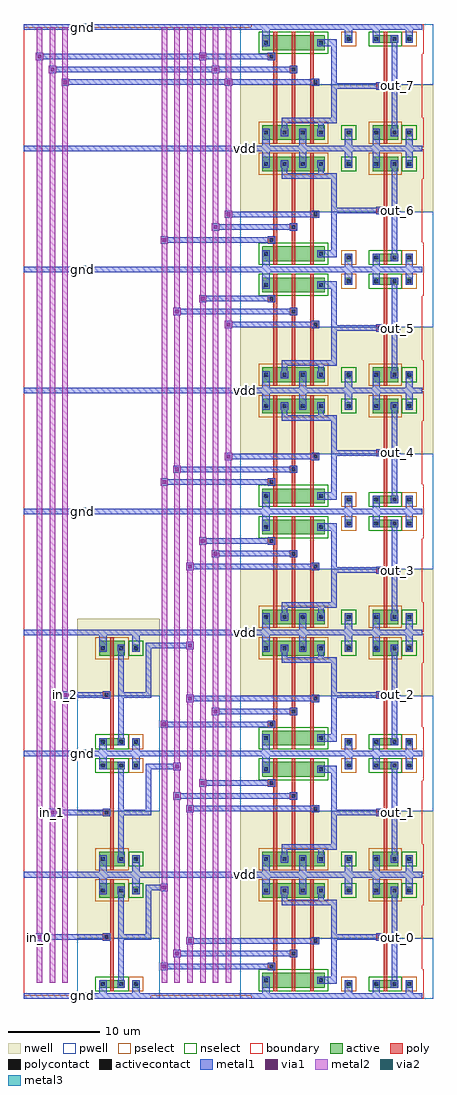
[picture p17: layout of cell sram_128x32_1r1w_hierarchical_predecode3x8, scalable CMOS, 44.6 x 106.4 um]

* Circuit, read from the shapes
.subckt sram_128x32_1r1w_hierarchical_predecode3x8 gnd in_0 in_1 in_2 out_0 out_1 out_2 out_3 out_4 out_5 out_6 out_7 vdd
M1 sram_128x32_1r1w_and3_dec_3/A in_0 gnd gnd nfet w=0.8u l=0.4u
M2 sram_128x32_1r1w_and3_dec_3/B in_1 gnd gnd nfet w=0.8u l=0.4u
M3 sram_128x32_1r1w_and3_dec_3/C in_2 gnd gnd nfet w=0.8u l=0.4u
M4 sram_128x32_1r1w_and3_dec_3/sram_128x32_1r1w_pnand3_0/sram_128x32_1r1w_nmos_m1_w1_600_sm1_dactive_3/D sram_128x32_1r1w_and3_dec_3/A gnd gnd nfet w=1.6u l=0.4u
M5 sram_128x32_1r1w_and3_dec_4/sram_128x32_1r1w_pnand3_0/sram_128x32_1r1w_nmos_m1_w1_600_sm1_dactive_3/D in_0 gnd gnd nfet w=1.6u l=0.4u
M6 sram_128x32_1r1w_and3_dec_5/sram_128x32_1r1w_pnand3_0/sram_128x32_1r1w_nmos_m1_w1_600_sm1_dactive_3/D sram_128x32_1r1w_and3_dec_3/A gnd gnd nfet w=1.6u l=0.4u
M7 sram_128x32_1r1w_and3_dec_6/sram_128x32_1r1w_pnand3_0/sram_128x32_1r1w_nmos_m1_w1_600_sm1_dactive_3/D in_0 gnd gnd nfet w=1.6u l=0.4u
M8 sram_128x32_1r1w_and3_dec_7/sram_128x32_1r1w_pnand3_0/sram_128x32_1r1w_nmos_m1_w1_600_sm1_dactive_3/D sram_128x32_1r1w_and3_dec_3/A gnd gnd nfet w=1.6u l=0.4u
M9 sram_128x32_1r1w_and3_dec_8/sram_128x32_1r1w_pnand3_0/sram_128x32_1r1w_nmos_m1_w1_600_sm1_dactive_3/D in_0 gnd gnd nfet w=1.6u l=0.4u
M10 sram_128x32_1r1w_and3_dec_9/sram_128x32_1r1w_pnand3_0/sram_128x32_1r1w_nmos_m1_w1_600_sm1_dactive_3/D sram_128x32_1r1w_and3_dec_3/A gnd gnd nfet w=1.6u l=0.4u
M11 sram_128x32_1r1w_and3_dec_10/sram_128x32_1r1w_pnand3_0/sram_128x32_1r1w_nmos_m1_w1_600_sm1_dactive_3/D in_0 gnd gnd nfet w=1.6u l=0.4u
M12 sram_128x32_1r1w_and3_dec_3/sram_128x32_1r1w_pnand3_0/sram_128x32_1r1w_nmos_m1_w1_600_sactive_dactive_4/D sram_128x32_1r1w_and3_dec_3/B sram_128x32_1r1w_and3_dec_3/sram_128x32_1r1w_pnand3_0/sram_128x32_1r1w_nmos_m1_w1_600_sm1_dactive_3/D gnd nfet w=1.6u l=0.4u
M13 sram_128x32_1r1w_and3_dec_4/sram_128x32_1r1w_pnand3_0/sram_128x32_1r1w_nmos_m1_w1_600_sactive_dactive_4/D sram_128x32_1r1w_and3_dec_3/B sram_128x32_1r1w_and3_dec_4/sram_128x32_1r1w_pnand3_0/sram_128x32_1r1w_nmos_m1_w1_600_sm1_dactive_3/D gnd nfet w=1.6u l=0.4u
M14 sram_128x32_1r1w_and3_dec_5/sram_128x32_1r1w_pnand3_0/sram_128x32_1r1w_nmos_m1_w1_600_sactive_dactive_4/D in_1 sram_128x32_1r1w_and3_dec_5/sram_128x32_1r1w_pnand3_0/sram_128x32_1r1w_nmos_m1_w1_600_sm1_dactive_3/D gnd nfet w=1.6u l=0.4u
M15 sram_128x32_1r1w_and3_dec_6/sram_128x32_1r1w_pnand3_0/sram_128x32_1r1w_nmos_m1_w1_600_sactive_dactive_4/D in_1 sram_128x32_1r1w_and3_dec_6/sram_128x32_1r1w_pnand3_0/sram_128x32_1r1w_nmos_m1_w1_600_sm1_dactive_3/D gnd nfet w=1.6u l=0.4u
M16 sram_128x32_1r1w_and3_dec_7/sram_128x32_1r1w_pnand3_0/sram_128x32_1r1w_nmos_m1_w1_600_sactive_dactive_4/D sram_128x32_1r1w_and3_dec_3/B sram_128x32_1r1w_and3_dec_7/sram_128x32_1r1w_pnand3_0/sram_128x32_1r1w_nmos_m1_w1_600_sm1_dactive_3/D gnd nfet w=1.6u l=0.4u
M17 sram_128x32_1r1w_and3_dec_8/sram_128x32_1r1w_pnand3_0/sram_128x32_1r1w_nmos_m1_w1_600_sactive_dactive_4/D sram_128x32_1r1w_and3_dec_3/B sram_128x32_1r1w_and3_dec_8/sram_128x32_1r1w_pnand3_0/sram_128x32_1r1w_nmos_m1_w1_600_sm1_dactive_3/D gnd nfet w=1.6u l=0.4u
M18 sram_128x32_1r1w_and3_dec_9/sram_128x32_1r1w_pnand3_0/sram_128x32_1r1w_nmos_m1_w1_600_sactive_dactive_4/D in_1 sram_128x32_1r1w_and3_dec_9/sram_128x32_1r1w_pnand3_0/sram_128x32_1r1w_nmos_m1_w1_600_sm1_dactive_3/D gnd nfet w=1.6u l=0.4u
M19 sram_128x32_1r1w_and3_dec_10/sram_128x32_1r1w_pnand3_0/sram_128x32_1r1w_nmos_m1_w1_600_sactive_dactive_4/D in_1 sram_128x32_1r1w_and3_dec_10/sram_128x32_1r1w_pnand3_0/sram_128x32_1r1w_nmos_m1_w1_600_sm1_dactive_3/D gnd nfet w=1.6u l=0.4u
M20 sram_128x32_1r1w_and3_dec_3/sram_128x32_1r1w_pinv_1/A sram_128x32_1r1w_and3_dec_3/C sram_128x32_1r1w_and3_dec_3/sram_128x32_1r1w_pnand3_0/sram_128x32_1r1w_nmos_m1_w1_600_sactive_dactive_4/D gnd nfet w=1.6u l=0.4u
M21 sram_128x32_1r1w_and3_dec_4/sram_128x32_1r1w_pinv_1/A sram_128x32_1r1w_and3_dec_3/C sram_128x32_1r1w_and3_dec_4/sram_128x32_1r1w_pnand3_0/sram_128x32_1r1w_nmos_m1_w1_600_sactive_dactive_4/D gnd nfet w=1.6u l=0.4u
M22 sram_128x32_1r1w_and3_dec_5/sram_128x32_1r1w_pinv_1/A sram_128x32_1r1w_and3_dec_3/C sram_128x32_1r1w_and3_dec_5/sram_128x32_1r1w_pnand3_0/sram_128x32_1r1w_nmos_m1_w1_600_sactive_dactive_4/D gnd nfet w=1.6u l=0.4u
M23 sram_128x32_1r1w_and3_dec_6/sram_128x32_1r1w_pinv_1/A sram_128x32_1r1w_and3_dec_3/C sram_128x32_1r1w_and3_dec_6/sram_128x32_1r1w_pnand3_0/sram_128x32_1r1w_nmos_m1_w1_600_sactive_dactive_4/D gnd nfet w=1.6u l=0.4u
M24 sram_128x32_1r1w_and3_dec_7/sram_128x32_1r1w_pinv_1/A in_2 sram_128x32_1r1w_and3_dec_7/sram_128x32_1r1w_pnand3_0/sram_128x32_1r1w_nmos_m1_w1_600_sactive_dactive_4/D gnd nfet w=1.6u l=0.4u
M25 sram_128x32_1r1w_and3_dec_8/sram_128x32_1r1w_pinv_1/A in_2 sram_128x32_1r1w_and3_dec_8/sram_128x32_1r1w_pnand3_0/sram_128x32_1r1w_nmos_m1_w1_600_sactive_dactive_4/D gnd nfet w=1.6u l=0.4u
M26 sram_128x32_1r1w_and3_dec_9/sram_128x32_1r1w_pinv_1/A in_2 sram_128x32_1r1w_and3_dec_9/sram_128x32_1r1w_pnand3_0/sram_128x32_1r1w_nmos_m1_w1_600_sactive_dactive_4/D gnd nfet w=1.6u l=0.4u
M27 sram_128x32_1r1w_and3_dec_10/sram_128x32_1r1w_pinv_1/A in_2 sram_128x32_1r1w_and3_dec_10/sram_128x32_1r1w_pnand3_0/sram_128x32_1r1w_nmos_m1_w1_600_sactive_dactive_4/D gnd nfet w=1.6u l=0.4u
M28 out_0 sram_128x32_1r1w_and3_dec_3/sram_128x32_1r1w_pinv_1/A gnd gnd nfet w=0.8u l=0.4u
M29 out_1 sram_128x32_1r1w_and3_dec_4/sram_128x32_1r1w_pinv_1/A gnd gnd nfet w=0.8u l=0.4u
M30 out_2 sram_128x32_1r1w_and3_dec_5/sram_128x32_1r1w_pinv_1/A gnd gnd nfet w=0.8u l=0.4u
M31 out_3 sram_128x32_1r1w_and3_dec_6/sram_128x32_1r1w_pinv_1/A gnd gnd nfet w=0.8u l=0.4u
M32 out_4 sram_128x32_1r1w_and3_dec_7/sram_128x32_1r1w_pinv_1/A gnd gnd nfet w=0.8u l=0.4u
M33 out_5 sram_128x32_1r1w_and3_dec_8/sram_128x32_1r1w_pinv_1/A gnd gnd nfet w=0.8u l=0.4u
M34 out_6 sram_128x32_1r1w_and3_dec_9/sram_128x32_1r1w_pinv_1/A gnd gnd nfet w=0.8u l=0.4u
M35 out_7 sram_128x32_1r1w_and3_dec_10/sram_128x32_1r1w_pinv_1/A gnd gnd nfet w=0.8u l=0.4u
M36 sram_128x32_1r1w_and3_dec_3/A in_0 vdd vdd pfet w=1.6u l=0.4u
M37 sram_128x32_1r1w_and3_dec_3/B in_1 vdd vdd pfet w=1.6u l=0.4u
M38 sram_128x32_1r1w_and3_dec_3/C in_2 vdd vdd pfet w=1.6u l=0.4u
M39 sram_128x32_1r1w_and3_dec_3/sram_128x32_1r1w_pinv_1/A sram_128x32_1r1w_and3_dec_3/A vdd vdd pfet w=1.6u l=0.4u
M40 sram_128x32_1r1w_and3_dec_4/sram_128x32_1r1w_pinv_1/A in_0 vdd vdd pfet w=1.6u l=0.4u
M41 sram_128x32_1r1w_and3_dec_5/sram_128x32_1r1w_pinv_1/A sram_128x32_1r1w_and3_dec_3/A vdd vdd pfet w=1.6u l=0.4u
M42 sram_128x32_1r1w_and3_dec_6/sram_128x32_1r1w_pinv_1/A in_0 vdd vdd pfet w=1.6u l=0.4u
M43 sram_128x32_1r1w_and3_dec_7/sram_128x32_1r1w_pinv_1/A sram_128x32_1r1w_and3_dec_3/A vdd vdd pfet w=1.6u l=0.4u
M44 sram_128x32_1r1w_and3_dec_8/sram_128x32_1r1w_pinv_1/A in_0 vdd vdd pfet w=1.6u l=0.4u
M45 sram_128x32_1r1w_and3_dec_9/sram_128x32_1r1w_pinv_1/A sram_128x32_1r1w_and3_dec_3/A vdd vdd pfet w=1.6u l=0.4u
M46 sram_128x32_1r1w_and3_dec_10/sram_128x32_1r1w_pinv_1/A in_0 vdd vdd pfet w=1.6u l=0.4u
M47 vdd sram_128x32_1r1w_and3_dec_3/B sram_128x32_1r1w_and3_dec_3/sram_128x32_1r1w_pinv_1/A vdd pfet w=1.6u l=0.4u
M48 vdd sram_128x32_1r1w_and3_dec_3/B sram_128x32_1r1w_and3_dec_4/sram_128x32_1r1w_pinv_1/A vdd pfet w=1.6u l=0.4u
M49 vdd in_1 sram_128x32_1r1w_and3_dec_5/sram_128x32_1r1w_pinv_1/A vdd pfet w=1.6u l=0.4u
M50 vdd in_1 sram_128x32_1r1w_and3_dec_6/sram_128x32_1r1w_pinv_1/A vdd pfet w=1.6u l=0.4u
M51 vdd sram_128x32_1r1w_and3_dec_3/B sram_128x32_1r1w_and3_dec_7/sram_128x32_1r1w_pinv_1/A vdd pfet w=1.6u l=0.4u
M52 vdd sram_128x32_1r1w_and3_dec_3/B sram_128x32_1r1w_and3_dec_8/sram_128x32_1r1w_pinv_1/A vdd pfet w=1.6u l=0.4u
M53 vdd in_1 sram_128x32_1r1w_and3_dec_9/sram_128x32_1r1w_pinv_1/A vdd pfet w=1.6u l=0.4u
M54 vdd in_1 sram_128x32_1r1w_and3_dec_10/sram_128x32_1r1w_pinv_1/A vdd pfet w=1.6u l=0.4u
M55 sram_128x32_1r1w_and3_dec_3/sram_128x32_1r1w_pinv_1/A sram_128x32_1r1w_and3_dec_3/C vdd vdd pfet w=1.6u l=0.4u
M56 sram_128x32_1r1w_and3_dec_4/sram_128x32_1r1w_pinv_1/A sram_128x32_1r1w_and3_dec_3/C vdd vdd pfet w=1.6u l=0.4u
M57 sram_128x32_1r1w_and3_dec_5/sram_128x32_1r1w_pinv_1/A sram_128x32_1r1w_and3_dec_3/C vdd vdd pfet w=1.6u l=0.4u
M58 sram_128x32_1r1w_and3_dec_6/sram_128x32_1r1w_pinv_1/A sram_128x32_1r1w_and3_dec_3/C vdd vdd pfet w=1.6u l=0.4u
M59 sram_128x32_1r1w_and3_dec_7/sram_128x32_1r1w_pinv_1/A in_2 vdd vdd pfet w=1.6u l=0.4u
M60 sram_128x32_1r1w_and3_dec_8/sram_128x32_1r1w_pinv_1/A in_2 vdd vdd pfet w=1.6u l=0.4u
M61 sram_128x32_1r1w_and3_dec_9/sram_128x32_1r1w_pinv_1/A in_2 vdd vdd pfet w=1.6u l=0.4u
M62 sram_128x32_1r1w_and3_dec_10/sram_128x32_1r1w_pinv_1/A in_2 vdd vdd pfet w=1.6u l=0.4u
M63 out_0 sram_128x32_1r1w_and3_dec_3/sram_128x32_1r1w_pinv_1/A vdd vdd pfet w=1.6u l=0.4u
M64 out_1 sram_128x32_1r1w_and3_dec_4/sram_128x32_1r1w_pinv_1/A vdd vdd pfet w=1.6u l=0.4u
M65 out_2 sram_128x32_1r1w_and3_dec_5/sram_128x32_1r1w_pinv_1/A vdd vdd pfet w=1.6u l=0.4u
M66 out_3 sram_128x32_1r1w_and3_dec_6/sram_128x32_1r1w_pinv_1/A vdd vdd pfet w=1.6u l=0.4u
M67 out_4 sram_128x32_1r1w_and3_dec_7/sram_128x32_1r1w_pinv_1/A vdd vdd pfet w=1.6u l=0.4u
M68 out_5 sram_128x32_1r1w_and3_dec_8/sram_128x32_1r1w_pinv_1/A vdd vdd pfet w=1.6u l=0.4u
M69 out_6 sram_128x32_1r1w_and3_dec_9/sram_128x32_1r1w_pinv_1/A vdd vdd pfet w=1.6u l=0.4u
M70 out_7 sram_128x32_1r1w_and3_dec_10/sram_128x32_1r1w_pinv_1/A vdd vdd pfet w=1.6u l=0.4u
.ends

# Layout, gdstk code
import gdstk
lib = gdstk.Library(unit=1e-6, precision=1e-09)
def R(c, l, rs):  # rectangles x0, y0, x1, y1
    for r in rs: c.add(gdstk.rectangle(r[:2], r[2:], *l))
def A(c, l, x, y, w, h, nx, ny, dx, dy):  # array of equal rectangles
    R(c, l, [(x+i*dx, y+j*dy, x+i*dx+w, y+j*dy+h) for i in range(nx) for j in range(ny)])
pwell = (41, 0)
nwell = (42, 0)
active = (43, 0)
pselect = (44, 0)
nselect = (45, 0)
poly = (46, 0)
polycontact = (47, 0)
activecontact = (48, 0)
metal1 = (49, 0)
via1 = (50, 0)
metal2 = (51, 0)
via2 = (61, 0)
metal3 = (62, 0)
boundary = (63, 0)

sram_128x32_1r1w_contact = lib.new_cell('sram_128x32_1r1w_contact_11')
R(sram_128x32_1r1w_contact, nwell, [(-1.2,-1.2,2,2)])
R(sram_128x32_1r1w_contact, active, [(0,0,0.8,0.8)])
R(sram_128x32_1r1w_contact, pselect, [(-0.4,-0.4,1.2,1.2)])
R(sram_128x32_1r1w_contact, activecontact, [(0.2,0.2,0.6,0.6)])
R(sram_128x32_1r1w_contact, metal1, [(0,0,0.8,0.8)])
R(sram_128x32_1r1w_contact, boundary, [(-1.2,-1.2,2,2)])

sram_128x32_1r1w_pmos_m1 = lib.new_cell('sram_128x32_1r1w_pmos_m1_w1_600_sm1_dm1_da_p')
R(sram_128x32_1r1w_pmos_m1, nwell, [(-1.2,-1.2,4,2.8)])
R(sram_128x32_1r1w_pmos_m1, active, [(0,0,2.8,1.6)])
R(sram_128x32_1r1w_pmos_m1, pselect, [(-0.4,-0.4,3.2,2)])
R(sram_128x32_1r1w_pmos_m1, poly, [(1.2,-0.4,1.6,2), (1.2,-0.4,1.6,2)])
R(sram_128x32_1r1w_pmos_m1, metal1, [(0,0.4,0.8,1.2), (2,0.4,2.8,1.2)])
R(sram_128x32_1r1w_pmos_m1, boundary, [(-1.2,-1.2,4,2.8)])
sram_128x32_1r1w_pmos_m1.add(gdstk.Reference(sram_128x32_1r1w_contact, (0,0.4)))
sram_128x32_1r1w_pmos_m1.add(gdstk.Reference(sram_128x32_1r1w_contact, (2,0.4)))
sram_128x32_1r1w_pmos_m1.add(gdstk.Label('G', (1.4,0.8), layer=46, texttype=0))
sram_128x32_1r1w_pmos_m1.add(gdstk.Label('S', (0.4,0.8), layer=49, texttype=0))
sram_128x32_1r1w_pmos_m1.add(gdstk.Label('D', (2.4,0.8), layer=49, texttype=0))

c_sram_128x32_1r1w_contact = lib.new_cell('sram_128x32_1r1w_contact_10')
R(c_sram_128x32_1r1w_contact, pwell, [(-1.2,-1.2,2,2)])
R(c_sram_128x32_1r1w_contact, active, [(0,0,0.8,0.8)])
R(c_sram_128x32_1r1w_contact, nselect, [(-0.4,-0.4,1.2,1.2)])
R(c_sram_128x32_1r1w_contact, activecontact, [(0.2,0.2,0.6,0.6)])
R(c_sram_128x32_1r1w_contact, metal1, [(0,0,0.8,0.8)])
R(c_sram_128x32_1r1w_contact, boundary, [(-1.2,-1.2,2,2)])

sram_128x32_1r1w_nmos_m1 = lib.new_cell('sram_128x32_1r1w_nmos_m1_w0_800_sm1_dm1_da_p')
R(sram_128x32_1r1w_nmos_m1, pwell, [(-1.2,-1.2,4,2)])
R(sram_128x32_1r1w_nmos_m1, active, [(0,0,2.8,0.8)])
R(sram_128x32_1r1w_nmos_m1, nselect, [(-0.4,-0.4,3.2,1.2)])
R(sram_128x32_1r1w_nmos_m1, poly, [(1.2,-0.4,1.6,1.2), (1.2,-0.4,1.6,1.2)])
R(sram_128x32_1r1w_nmos_m1, metal1, [(0,0,0.8,0.8), (2,0,2.8,0.8)])
R(sram_128x32_1r1w_nmos_m1, boundary, [(-1.2,-1.2,4,2)])
sram_128x32_1r1w_nmos_m1.add(gdstk.Reference(c_sram_128x32_1r1w_contact, (0,0)))
sram_128x32_1r1w_nmos_m1.add(gdstk.Reference(c_sram_128x32_1r1w_contact, (2,0)))
sram_128x32_1r1w_nmos_m1.add(gdstk.Label('G', (1.4,0.4), layer=46, texttype=0))
sram_128x32_1r1w_nmos_m1.add(gdstk.Label('S', (0.4,0.4), layer=49, texttype=0))
sram_128x32_1r1w_nmos_m1.add(gdstk.Label('D', (2.4,0.4), layer=49, texttype=0))

c_sram_128x32_1r1w_contact_ = lib.new_cell('sram_128x32_1r1w_contact_12')
R(c_sram_128x32_1r1w_contact_, nwell, [(-1.2,-1.2,2,2)])
R(c_sram_128x32_1r1w_contact_, active, [(0,0,0.8,0.8)])
R(c_sram_128x32_1r1w_contact_, nselect, [(-0.4,-0.4,1.2,1.2)])
R(c_sram_128x32_1r1w_contact_, activecontact, [(0.2,0.2,0.6,0.6)])
R(c_sram_128x32_1r1w_contact_, metal1, [(0,0,0.8,0.8)])
R(c_sram_128x32_1r1w_contact_, boundary, [(-1.2,-1.2,2,2)])

c_sram_128x32_1r1w_contact__ = lib.new_cell('sram_128x32_1r1w_contact_13')
R(c_sram_128x32_1r1w_contact__, pwell, [(-1.2,-1.2,2,2)])
R(c_sram_128x32_1r1w_contact__, active, [(0,0,0.8,0.8)])
R(c_sram_128x32_1r1w_contact__, pselect, [(-0.4,-0.4,1.2,1.2)])
R(c_sram_128x32_1r1w_contact__, activecontact, [(0.2,0.2,0.6,0.6)])
R(c_sram_128x32_1r1w_contact__, metal1, [(0,0,0.8,0.8)])
R(c_sram_128x32_1r1w_contact__, boundary, [(-1.2,-1.2,2,2)])

c_sram_128x32_1r1w_contact___ = lib.new_cell('sram_128x32_1r1w_contact_14')
R(c_sram_128x32_1r1w_contact___, poly, [(0,0,0.8,0.8)])
R(c_sram_128x32_1r1w_contact___, polycontact, [(0.2,0.2,0.6,0.6)])
R(c_sram_128x32_1r1w_contact___, metal1, [(0,0,0.8,0.8)])
R(c_sram_128x32_1r1w_contact___, boundary, [(0,0,0.8,0.8)])

sram_128x32_1r1w_pinv = lib.new_cell('sram_128x32_1r1w_pinv')
R(sram_128x32_1r1w_pinv, pwell, [(-1.2,-0.3,7.8,6.3)])
R(sram_128x32_1r1w_pinv, nwell, [(-1.2,6.3,7.8,14.7)])
R(sram_128x32_1r1w_pinv, poly, [(2.4,2.1,2.8,10.3), (2,6,2.4,6.8)])
R(sram_128x32_1r1w_pinv, metal1, [(0,-0.3,6.6,0.3), (1.2,-0.3,2,0.9), (4.8,0,5.6,1.3), (3.3,0.9,3.9,11.9), (1.6,6,2.4,6.8), (3.6,6.1,4.2,6.7), (1.2,11.1,2,13.5), (4.8,11.5,5.6,13.2), (0,12.9,6.6,13.5)])
R(sram_128x32_1r1w_pinv, boundary, [(0,0,6.6,13.2), (0,0,6.6,13.2)])
sram_128x32_1r1w_pinv.add(gdstk.Reference(sram_128x32_1r1w_pmos_m1, (1.2,10.7)))
sram_128x32_1r1w_pinv.add(gdstk.Reference(sram_128x32_1r1w_nmos_m1, (1.2,0.9)))
sram_128x32_1r1w_pinv.add(gdstk.Reference(c_sram_128x32_1r1w_contact_, (4.8,11.1)))
sram_128x32_1r1w_pinv.add(gdstk.Reference(c_sram_128x32_1r1w_contact__, (4.8,0.9)))
sram_128x32_1r1w_pinv.add(gdstk.Reference(c_sram_128x32_1r1w_contact___, (1.6,6)))
sram_128x32_1r1w_pinv.add(gdstk.Label('A', (2,6.4), layer=49, texttype=0))
sram_128x32_1r1w_pinv.add(gdstk.Label('Z', (3.9,6.4), layer=49, texttype=0))
sram_128x32_1r1w_pinv.add(gdstk.Label('gnd', (3.3,0), layer=49, texttype=0))
sram_128x32_1r1w_pinv.add(gdstk.Label('vdd', (3.3,13.2), layer=49, texttype=0))

c_sram_128x32_1r1w_pmos_m1 = lib.new_cell('sram_128x32_1r1w_pmos_m1_w1_600_sm1_dm1')
R(c_sram_128x32_1r1w_pmos_m1, nwell, [(-1.2,-1.2,4,2.8)])
R(c_sram_128x32_1r1w_pmos_m1, active, [(0,0,2.8,1.6)])
R(c_sram_128x32_1r1w_pmos_m1, pselect, [(-0.4,-0.4,3.2,2)])
R(c_sram_128x32_1r1w_pmos_m1, poly, [(1.2,-0.4,1.6,2), (1.2,-0.4,1.6,2)])
R(c_sram_128x32_1r1w_pmos_m1, metal1, [(0,0.4,0.8,1.2), (2,0.4,2.8,1.2)])
R(c_sram_128x32_1r1w_pmos_m1, boundary, [(-1.2,-1.2,4,2.8)])
c_sram_128x32_1r1w_pmos_m1.add(gdstk.Reference(sram_128x32_1r1w_contact, (0,0.4)))
c_sram_128x32_1r1w_pmos_m1.add(gdstk.Reference(sram_128x32_1r1w_contact, (2,0.4)))
c_sram_128x32_1r1w_pmos_m1.add(gdstk.Label('G', (1.4,0.8), layer=46, texttype=0))
c_sram_128x32_1r1w_pmos_m1.add(gdstk.Label('S', (0.4,0.8), layer=49, texttype=0))
c_sram_128x32_1r1w_pmos_m1.add(gdstk.Label('D', (2.4,0.8), layer=49, texttype=0))

c_sram_128x32_1r1w_nmos_m1 = lib.new_cell('sram_128x32_1r1w_nmos_m1_w1_600_sm1_dactive')
R(c_sram_128x32_1r1w_nmos_m1, pwell, [(-1.2,-1.2,4,2.8)])
R(c_sram_128x32_1r1w_nmos_m1, active, [(0,0,2.8,1.6), (2.1,0.5,2.7,1.1)])
R(c_sram_128x32_1r1w_nmos_m1, nselect, [(-0.4,-0.4,3.2,2)])
R(c_sram_128x32_1r1w_nmos_m1, poly, [(1.2,-0.4,1.6,2), (1.2,-0.4,1.6,2)])
R(c_sram_128x32_1r1w_nmos_m1, metal1, [(0,0.4,0.8,1.2)])
R(c_sram_128x32_1r1w_nmos_m1, boundary, [(-1.2,-1.2,4,2.8)])
c_sram_128x32_1r1w_nmos_m1.add(gdstk.Reference(c_sram_128x32_1r1w_contact, (0,0.4)))
c_sram_128x32_1r1w_nmos_m1.add(gdstk.Label('G', (1.4,0.8), layer=46, texttype=0))
c_sram_128x32_1r1w_nmos_m1.add(gdstk.Label('S', (0.4,0.8), layer=49, texttype=0))
c_sram_128x32_1r1w_nmos_m1.add(gdstk.Label('D', (2.4,0.8), layer=43, texttype=0))

c_sram_128x32_1r1w_nmos_m1_ = lib.new_cell('sram_128x32_1r1w_nmos_m1_w1_600_sactive_dactive')
R(c_sram_128x32_1r1w_nmos_m1_, pwell, [(-1.2,-1.2,4,2.8)])
R(c_sram_128x32_1r1w_nmos_m1_, active, [(0,0,2.8,1.6), (0.1,0.5,0.7,1.1), (2.1,0.5,2.7,1.1)])
R(c_sram_128x32_1r1w_nmos_m1_, nselect, [(-0.4,-0.4,3.2,2)])
R(c_sram_128x32_1r1w_nmos_m1_, poly, [(1.2,-0.4,1.6,2), (1.2,-0.4,1.6,2)])
R(c_sram_128x32_1r1w_nmos_m1_, boundary, [(-1.2,-1.2,4,2.8)])
c_sram_128x32_1r1w_nmos_m1_.add(gdstk.Label('G', (1.4,0.8), layer=46, texttype=0))
c_sram_128x32_1r1w_nmos_m1_.add(gdstk.Label('S', (0.4,0.8), layer=43, texttype=0))
c_sram_128x32_1r1w_nmos_m1_.add(gdstk.Label('D', (2.4,0.8), layer=43, texttype=0))

c_sram_128x32_1r1w_nmos_m1__ = lib.new_cell('sram_128x32_1r1w_nmos_m1_w1_600_sactive_dm1')
R(c_sram_128x32_1r1w_nmos_m1__, pwell, [(-1.2,-1.2,4,2.8)])
R(c_sram_128x32_1r1w_nmos_m1__, active, [(0,0,2.8,1.6), (0.1,0.5,0.7,1.1)])
R(c_sram_128x32_1r1w_nmos_m1__, nselect, [(-0.4,-0.4,3.2,2)])
R(c_sram_128x32_1r1w_nmos_m1__, poly, [(1.2,-0.4,1.6,2), (1.2,-0.4,1.6,2)])
R(c_sram_128x32_1r1w_nmos_m1__, metal1, [(2,0.4,2.8,1.2)])
R(c_sram_128x32_1r1w_nmos_m1__, boundary, [(-1.2,-1.2,4,2.8)])
c_sram_128x32_1r1w_nmos_m1__.add(gdstk.Reference(c_sram_128x32_1r1w_contact, (2,0.4)))
c_sram_128x32_1r1w_nmos_m1__.add(gdstk.Label('G', (1.4,0.8), layer=46, texttype=0))
c_sram_128x32_1r1w_nmos_m1__.add(gdstk.Label('S', (0.4,0.8), layer=43, texttype=0))
c_sram_128x32_1r1w_nmos_m1__.add(gdstk.Label('D', (2.4,0.8), layer=49, texttype=0))

sram_128x32_1r1w_pnand3 = lib.new_cell('sram_128x32_1r1w_pnand3')
R(sram_128x32_1r1w_pnand3, pwell, [(-1.2,-0.3,13.2,6.3)])
R(sram_128x32_1r1w_pnand3, nwell, [(-1.2,6.3,13.2,14.7)])
A(sram_128x32_1r1w_pnand3, poly, 2.4, 2.9, 0.4, 7.4, 3, 1, 2, 0)
R(sram_128x32_1r1w_pnand3, poly, [(2.2,2.8,2.4,3.6), (4.4,4.2,4.6,5), (6.4,5.6,7,6.4)])
R(sram_128x32_1r1w_pnand3, metal1, [(0,-0.3,12,0.3), (1.2,-0.3,2,1.3), (10.2,0,11,1.3), (7.6,1.3,9,2.1), (8.7,1.3,9.3,10.2), (1.8,2.8,2.6,3.6), (4.2,4.2,5,5), (6.6,5.6,7.4,6.4), (3.3,9.9,3.9,10.5), (3.6,9.9,9,10.5), (7.3,9.9,7.9,10.5), (7.6,9.9,9,10.5), (8.7,9.9,9.3,10.5), (3.3,10.2,3.9,11.5), (7.3,10.2,7.9,11.5), (1.2,11.1,2,13.5), (5.2,11.1,6,13.5), (10.2,11.5,11,13.2), (0,12.9,12,13.5)])
R(sram_128x32_1r1w_pnand3, boundary, [(0,0,12,13.2), (0,0,12,13.2)])
sram_128x32_1r1w_pnand3.add(gdstk.Reference(c_sram_128x32_1r1w_pmos_m1, (1.2,10.7)))
sram_128x32_1r1w_pnand3.add(gdstk.Reference(c_sram_128x32_1r1w_pmos_m1, (3.2,10.7)))
sram_128x32_1r1w_pnand3.add(gdstk.Reference(c_sram_128x32_1r1w_pmos_m1, (5.2,10.7)))
sram_128x32_1r1w_pnand3.add(gdstk.Reference(c_sram_128x32_1r1w_nmos_m1, (1.2,0.9)))
sram_128x32_1r1w_pnand3.add(gdstk.Reference(c_sram_128x32_1r1w_nmos_m1_, (3.2,0.9)))
sram_128x32_1r1w_pnand3.add(gdstk.Reference(c_sram_128x32_1r1w_nmos_m1__, (5.2,0.9)))
sram_128x32_1r1w_pnand3.add(gdstk.Reference(c_sram_128x32_1r1w_contact_, (10.2,11.1)))
sram_128x32_1r1w_pnand3.add(gdstk.Reference(c_sram_128x32_1r1w_contact__, (10.2,0.9)))
sram_128x32_1r1w_pnand3.add(gdstk.Reference(c_sram_128x32_1r1w_contact___, (1.8,2.8)))
sram_128x32_1r1w_pnand3.add(gdstk.Reference(c_sram_128x32_1r1w_contact___, (4.2,4.2)))
sram_128x32_1r1w_pnand3.add(gdstk.Reference(c_sram_128x32_1r1w_contact___, (6.6,5.6)))
sram_128x32_1r1w_pnand3.add(gdstk.Label('A', (2.2,3.2), layer=49, texttype=0))
sram_128x32_1r1w_pnand3.add(gdstk.Label('B', (4.6,4.6), layer=49, texttype=0))
sram_128x32_1r1w_pnand3.add(gdstk.Label('C', (7,6), layer=49, texttype=0))
sram_128x32_1r1w_pnand3.add(gdstk.Label('Z', (9,10.2), layer=49, texttype=0))
sram_128x32_1r1w_pnand3.add(gdstk.Label('gnd', (6,0), layer=49, texttype=0))
sram_128x32_1r1w_pnand3.add(gdstk.Label('vdd', (6,13.2), layer=49, texttype=0))

sram_128x32_1r1w_and3_de = lib.new_cell('sram_128x32_1r1w_and3_dec')
R(sram_128x32_1r1w_and3_de, metal1, [(0,-0.3,18.6,0.3), (1.8,2.8,2.6,3.6), (4.2,4.2,5,5), (6.6,5.6,7.4,6.4), (8.7,6.1,9.3,6.7), (9,6.1,14,6.7), (15.6,6.1,16.2,6.7), (8.7,6.4,9.3,10.2), (0,12.9,18.6,13.5)])
R(sram_128x32_1r1w_and3_de, boundary, [(0,0,18.6,13.2)])
sram_128x32_1r1w_and3_de.add(gdstk.Reference(sram_128x32_1r1w_pnand3, (0,0)))
sram_128x32_1r1w_and3_de.add(gdstk.Reference(sram_128x32_1r1w_pinv, (12,0)))
sram_128x32_1r1w_and3_de.add(gdstk.Label('Z', (15.9,6.4), layer=49, texttype=0))
sram_128x32_1r1w_and3_de.add(gdstk.Label('A', (2.2,3.2), layer=49, texttype=0))
sram_128x32_1r1w_and3_de.add(gdstk.Label('B', (4.6,4.6), layer=49, texttype=0))
sram_128x32_1r1w_and3_de.add(gdstk.Label('C', (7,6), layer=49, texttype=0))
sram_128x32_1r1w_and3_de.add(gdstk.Label('gnd', (9.3,0), layer=49, texttype=0))
sram_128x32_1r1w_and3_de.add(gdstk.Label('vdd', (9.3,13.2), layer=49, texttype=0))

c_sram_128x32_1r1w_contact____ = lib.new_cell('sram_128x32_1r1w_contact_15')
R(c_sram_128x32_1r1w_contact____, metal1, [(0,0,0.8,0.8)])
R(c_sram_128x32_1r1w_contact____, via1, [(0.2,0.2,0.6,0.6)])
R(c_sram_128x32_1r1w_contact____, metal2, [(0,0,0.8,0.8)])
R(c_sram_128x32_1r1w_contact____, boundary, [(0,0,0.8,0.8)])

c_sram_128x32_1r1w_contact_____ = lib.new_cell('sram_128x32_1r1w_contact_17')
R(c_sram_128x32_1r1w_contact_____, metal1, [(0,0,0.8,0.8)])
R(c_sram_128x32_1r1w_contact_____, via1, [(0.2,0.2,0.6,0.6)])
R(c_sram_128x32_1r1w_contact_____, metal2, [(0,0,0.8,0.8)])
R(c_sram_128x32_1r1w_contact_____, boundary, [(0,0,0.8,0.8)])

c_sram_128x32_1r1w_contact______ = lib.new_cell('sram_128x32_1r1w_contact_18')
R(c_sram_128x32_1r1w_contact______, metal2, [(0,0,0.8,0.8)])
R(c_sram_128x32_1r1w_contact______, via2, [(0.2,0.2,0.6,0.6)])
R(c_sram_128x32_1r1w_contact______, metal3, [(0,0,0.8,0.8)])
R(c_sram_128x32_1r1w_contact______, boundary, [(0,0,0.8,0.8)])

sram_128x32_1r1w_hierarc = lib.new_cell('sram_128x32_1r1w_hierarchical_predecode3x8')
A(sram_128x32_1r1w_hierarc, metal1, 15.3, 2.9, 11.7, 0.6, 1, 4, 0, 26.4)
A(sram_128x32_1r1w_hierarc, metal1, 19.5, 22.9, 7.5, 0.6, 1, 4, 0, 26.4)
R(sram_128x32_1r1w_hierarc, metal1, [(0,-0.3,43.4,0.3), (26.7,2.9,27.3,3.5), (16.7,4.3,29.4,4.9), (29.1,4.3,29.7,4.9), (18.1,5.7,31.8,6.3), (31.5,5.7,32.1,6.3), (1.7,6.1,9,6.7), (8.7,6.1,9.3,6.7), (10.9,6.1,11.5,6.7), (11.2,6.1,13.6,6.7), (13.3,6.1,13.9,6.7), (40.4,6.1,41,6.7), (13.3,6.4,13.9,11.8), (13.3,11.5,13.9,12.1), (13.6,11.5,15.3,12.1), (0,12.9,43.4,13.5), (0,12.9,43.4,13.5), (3.1,19.7,9,20.3), (8.7,19.7,9.3,20.3), (10.9,19.7,11.5,20.3), (11.2,19.7,13.6,20.3), (13.3,19.7,13.9,20.3), (40.4,19.7,41,20.3), (13.3,20,13.9,25), (18.1,20.1,31.8,20.7), (31.5,20.1,32.1,20.7), (16.7,21.5,29.4,22.1), (29.1,21.5,29.7,22.1), (26.7,22.9,27.3,23.5), (13.3,24.7,13.9,25.3), (13.6,24.7,16.7,25.3), (0,26.1,43.4,26.7), (0,26.1,43.4,26.7), (26.7,29.3,27.3,29.9), (20.9,30.7,29.4,31.3), (29.1,30.7,29.7,31.3), (18.1,32.1,31.8,32.7), (31.5,32.1,32.1,32.7), (4.5,32.5,9,33.1), (8.7,32.5,9.3,33.1), (10.9,32.5,11.5,33.1), (11.2,32.5,13.6,33.1), (13.3,32.5,13.9,33.1), (40.4,32.5,41,33.1), (13.3,32.8,13.9,38.2), (13.3,37.9,13.9,38.5), (13.6,37.9,18.1,38.5), (0,39.3,43.4,39.9), (0,39.3,43.4,39.9), (40.4,46.1,41,46.7), (18.1,46.5,31.8,47.1), (31.5,46.5,32.1,47.1), (20.9,47.9,29.4,48.5), (29.1,47.9,29.7,48.5), (26.7,49.3,27.3,49.9), (0,52.5,43.4,53.1), (0,52.5,43.4,53.1), (26.7,55.7,27.3,56.3), (16.7,57.1,29.4,57.7), (29.1,57.1,29.7,57.7), (22.3,58.5,31.8,59.1), (31.5,58.5,32.1,59.1), (40.4,58.9,41,59.5), (0,65.7,43.4,66.3), (0,65.7,43.4,66.3), (40.4,72.5,41,73.1), (22.3,72.9,31.8,73.5), (31.5,72.9,32.1,73.5), (16.7,74.3,29.4,74.9), (29.1,74.3,29.7,74.9), (26.7,75.7,27.3,76.3), (0,78.9,43.4,79.5), (0,78.9,43.4,79.5), (26.7,82.1,27.3,82.7), (20.9,83.5,29.4,84.1), (29.1,83.5,29.7,84.1), (22.3,84.9,31.8,85.5), (31.5,84.9,32.1,85.5), (40.4,85.3,41,85.9), (0,92.1,43.4,92.7), (0,92.1,43.4,92.7), (40.4,98.9,41,99.5), (4.5,99.3,22.3,99.9), (22.3,99.3,31.8,99.9), (31.5,99.3,32.1,99.9), (3.1,100.7,20.9,101.3), (20.9,100.7,29.4,101.3), (29.1,100.7,29.7,101.3), (1.7,102.1,19.5,102.7), (26.7,102.1,27.3,102.7), (0,105.3,43.4,105.9)])
A(sram_128x32_1r1w_hierarc, metal2, 1.4, 1.4, 0.6, 104.2, 3, 1, 1.4, 0)
A(sram_128x32_1r1w_hierarc, metal2, 15, 1.4, 0.6, 104.2, 6, 1, 1.4, 0)
R(sram_128x32_1r1w_hierarc, metal2, [(1.3,6,2.1,6.8), (2.7,19.6,3.5,20.4), (4.1,32.4,4.9,33.2)])
A(sram_128x32_1r1w_hierarc, metal3, 6, -0.4, 0.8, 0.8, 1, 5, 0, 26.4)
A(sram_128x32_1r1w_hierarc, metal3, 23.8, 12.8, 0.8, 0.8, 1, 4, 0, 26.4)
R(sram_128x32_1r1w_hierarc, boundary, [(0,0,43.4,105.6)])
sram_128x32_1r1w_hierarc.add(gdstk.Reference(sram_128x32_1r1w_pinv, (7,0)))
sram_128x32_1r1w_hierarc.add(gdstk.Reference(sram_128x32_1r1w_pinv, (7,26.4), x_reflection=True))
sram_128x32_1r1w_hierarc.add(gdstk.Reference(sram_128x32_1r1w_pinv, (7,26.4)))
sram_128x32_1r1w_hierarc.add(gdstk.Reference(sram_128x32_1r1w_and3_de, (24.8,0)))
sram_128x32_1r1w_hierarc.add(gdstk.Reference(sram_128x32_1r1w_and3_de, (24.8,26.4), x_reflection=True))
sram_128x32_1r1w_hierarc.add(gdstk.Reference(sram_128x32_1r1w_and3_de, (24.8,26.4)))
sram_128x32_1r1w_hierarc.add(gdstk.Reference(sram_128x32_1r1w_and3_de, (24.8,52.8), x_reflection=True))
sram_128x32_1r1w_hierarc.add(gdstk.Reference(sram_128x32_1r1w_and3_de, (24.8,52.8)))
sram_128x32_1r1w_hierarc.add(gdstk.Reference(sram_128x32_1r1w_and3_de, (24.8,79.2), x_reflection=True))
sram_128x32_1r1w_hierarc.add(gdstk.Reference(sram_128x32_1r1w_and3_de, (24.8,79.2)))
sram_128x32_1r1w_hierarc.add(gdstk.Reference(sram_128x32_1r1w_and3_de, (24.8,105.6), x_reflection=True))
sram_128x32_1r1w_hierarc.add(gdstk.Reference(c_sram_128x32_1r1w_contact____, (1.3,6)))
sram_128x32_1r1w_hierarc.add(gdstk.Reference(c_sram_128x32_1r1w_contact____, (2.7,19.6)))
sram_128x32_1r1w_hierarc.add(gdstk.Reference(c_sram_128x32_1r1w_contact____, (4.1,32.4)))
sram_128x32_1r1w_hierarc.add(gdstk.Reference(c_sram_128x32_1r1w_contact____, (14.9,2.8)))
sram_128x32_1r1w_hierarc.add(gdstk.Reference(c_sram_128x32_1r1w_contact____, (16.3,4.2)))
sram_128x32_1r1w_hierarc.add(gdstk.Reference(c_sram_128x32_1r1w_contact____, (17.7,5.6)))
sram_128x32_1r1w_hierarc.add(gdstk.Reference(c_sram_128x32_1r1w_contact____, (19.1,22.8)))
sram_128x32_1r1w_hierarc.add(gdstk.Reference(c_sram_128x32_1r1w_contact____, (16.3,21.4)))
sram_128x32_1r1w_hierarc.add(gdstk.Reference(c_sram_128x32_1r1w_contact____, (17.7,20)))
sram_128x32_1r1w_hierarc.add(gdstk.Reference(c_sram_128x32_1r1w_contact____, (14.9,29.2)))
sram_128x32_1r1w_hierarc.add(gdstk.Reference(c_sram_128x32_1r1w_contact____, (20.5,30.6)))
sram_128x32_1r1w_hierarc.add(gdstk.Reference(c_sram_128x32_1r1w_contact____, (17.7,32)))
sram_128x32_1r1w_hierarc.add(gdstk.Reference(c_sram_128x32_1r1w_contact____, (19.1,49.2)))
sram_128x32_1r1w_hierarc.add(gdstk.Reference(c_sram_128x32_1r1w_contact____, (20.5,47.8)))
sram_128x32_1r1w_hierarc.add(gdstk.Reference(c_sram_128x32_1r1w_contact____, (17.7,46.4)))
sram_128x32_1r1w_hierarc.add(gdstk.Reference(c_sram_128x32_1r1w_contact____, (14.9,55.6)))
sram_128x32_1r1w_hierarc.add(gdstk.Reference(c_sram_128x32_1r1w_contact____, (16.3,57)))
sram_128x32_1r1w_hierarc.add(gdstk.Reference(c_sram_128x32_1r1w_contact____, (21.9,58.4)))
sram_128x32_1r1w_hierarc.add(gdstk.Reference(c_sram_128x32_1r1w_contact____, (19.1,75.6)))
sram_128x32_1r1w_hierarc.add(gdstk.Reference(c_sram_128x32_1r1w_contact____, (16.3,74.2)))
sram_128x32_1r1w_hierarc.add(gdstk.Reference(c_sram_128x32_1r1w_contact____, (21.9,72.8)))
sram_128x32_1r1w_hierarc.add(gdstk.Reference(c_sram_128x32_1r1w_contact____, (14.9,82)))
sram_128x32_1r1w_hierarc.add(gdstk.Reference(c_sram_128x32_1r1w_contact____, (20.5,83.4)))
sram_128x32_1r1w_hierarc.add(gdstk.Reference(c_sram_128x32_1r1w_contact____, (21.9,84.8)))
sram_128x32_1r1w_hierarc.add(gdstk.Reference(c_sram_128x32_1r1w_contact____, (19.1,102)))
sram_128x32_1r1w_hierarc.add(gdstk.Reference(c_sram_128x32_1r1w_contact____, (20.5,100.6)))
sram_128x32_1r1w_hierarc.add(gdstk.Reference(c_sram_128x32_1r1w_contact____, (21.9,99.2)))
sram_128x32_1r1w_hierarc.add(gdstk.Reference(c_sram_128x32_1r1w_contact____, (14.9,11.4)))
sram_128x32_1r1w_hierarc.add(gdstk.Reference(c_sram_128x32_1r1w_contact____, (16.3,24.6)))
sram_128x32_1r1w_hierarc.add(gdstk.Reference(c_sram_128x32_1r1w_contact____, (17.7,37.8)))
sram_128x32_1r1w_hierarc.add(gdstk.Reference(c_sram_128x32_1r1w_contact_____, (1.3,102)))
sram_128x32_1r1w_hierarc.add(gdstk.Reference(c_sram_128x32_1r1w_contact_____, (19.1,102)))
sram_128x32_1r1w_hierarc.add(gdstk.Reference(c_sram_128x32_1r1w_contact_____, (2.7,100.6)))
sram_128x32_1r1w_hierarc.add(gdstk.Reference(c_sram_128x32_1r1w_contact_____, (20.5,100.6)))
sram_128x32_1r1w_hierarc.add(gdstk.Reference(c_sram_128x32_1r1w_contact_____, (4.1,99.2)))
sram_128x32_1r1w_hierarc.add(gdstk.Reference(c_sram_128x32_1r1w_contact_____, (21.9,99.2)))
sram_128x32_1r1w_hierarc.add(gdstk.Reference(c_sram_128x32_1r1w_contact_____, (23.8,12.8)))
sram_128x32_1r1w_hierarc.add(gdstk.Reference(c_sram_128x32_1r1w_contact______, (23.8,12.8)))
sram_128x32_1r1w_hierarc.add(gdstk.Reference(c_sram_128x32_1r1w_contact_____, (6,-0.4)))
sram_128x32_1r1w_hierarc.add(gdstk.Reference(c_sram_128x32_1r1w_contact______, (6,-0.4)))
sram_128x32_1r1w_hierarc.add(gdstk.Reference(c_sram_128x32_1r1w_contact_____, (23.8,12.8)))
sram_128x32_1r1w_hierarc.add(gdstk.Reference(c_sram_128x32_1r1w_contact______, (23.8,12.8)))
sram_128x32_1r1w_hierarc.add(gdstk.Reference(c_sram_128x32_1r1w_contact_____, (6,26)))
sram_128x32_1r1w_hierarc.add(gdstk.Reference(c_sram_128x32_1r1w_contact______, (6,26)))
sram_128x32_1r1w_hierarc.add(gdstk.Reference(c_sram_128x32_1r1w_contact_____, (23.8,39.2)))
sram_128x32_1r1w_hierarc.add(gdstk.Reference(c_sram_128x32_1r1w_contact______, (23.8,39.2)))
sram_128x32_1r1w_hierarc.add(gdstk.Reference(c_sram_128x32_1r1w_contact_____, (6,26)))
sram_128x32_1r1w_hierarc.add(gdstk.Reference(c_sram_128x32_1r1w_contact______, (6,26)))
sram_128x32_1r1w_hierarc.add(gdstk.Reference(c_sram_128x32_1r1w_contact_____, (23.8,39.2)))
sram_128x32_1r1w_hierarc.add(gdstk.Reference(c_sram_128x32_1r1w_contact______, (23.8,39.2)))
sram_128x32_1r1w_hierarc.add(gdstk.Reference(c_sram_128x32_1r1w_contact_____, (6,52.4)))
sram_128x32_1r1w_hierarc.add(gdstk.Reference(c_sram_128x32_1r1w_contact______, (6,52.4)))
sram_128x32_1r1w_hierarc.add(gdstk.Reference(c_sram_128x32_1r1w_contact_____, (23.8,65.6)))
sram_128x32_1r1w_hierarc.add(gdstk.Reference(c_sram_128x32_1r1w_contact______, (23.8,65.6)))
sram_128x32_1r1w_hierarc.add(gdstk.Reference(c_sram_128x32_1r1w_contact_____, (6,52.4)))
sram_128x32_1r1w_hierarc.add(gdstk.Reference(c_sram_128x32_1r1w_contact______, (6,52.4)))
sram_128x32_1r1w_hierarc.add(gdstk.Reference(c_sram_128x32_1r1w_contact_____, (23.8,65.6)))
sram_128x32_1r1w_hierarc.add(gdstk.Reference(c_sram_128x32_1r1w_contact______, (23.8,65.6)))
sram_128x32_1r1w_hierarc.add(gdstk.Reference(c_sram_128x32_1r1w_contact_____, (6,78.8)))
sram_128x32_1r1w_hierarc.add(gdstk.Reference(c_sram_128x32_1r1w_contact______, (6,78.8)))
sram_128x32_1r1w_hierarc.add(gdstk.Reference(c_sram_128x32_1r1w_contact_____, (23.8,92)))
sram_128x32_1r1w_hierarc.add(gdstk.Reference(c_sram_128x32_1r1w_contact______, (23.8,92)))
sram_128x32_1r1w_hierarc.add(gdstk.Reference(c_sram_128x32_1r1w_contact_____, (6,78.8)))
sram_128x32_1r1w_hierarc.add(gdstk.Reference(c_sram_128x32_1r1w_contact______, (6,78.8)))
sram_128x32_1r1w_hierarc.add(gdstk.Reference(c_sram_128x32_1r1w_contact_____, (23.8,92)))
sram_128x32_1r1w_hierarc.add(gdstk.Reference(c_sram_128x32_1r1w_contact______, (23.8,92)))
sram_128x32_1r1w_hierarc.add(gdstk.Reference(c_sram_128x32_1r1w_contact_____, (6,105.2)))
sram_128x32_1r1w_hierarc.add(gdstk.Reference(c_sram_128x32_1r1w_contact______, (6,105.2)))
sram_128x32_1r1w_hierarc.add(gdstk.Label('in_0', (1.7,6.4), layer=51, texttype=0))
sram_128x32_1r1w_hierarc.add(gdstk.Label('in_1', (3.1,20), layer=51, texttype=0))
sram_128x32_1r1w_hierarc.add(gdstk.Label('in_2', (4.5,32.8), layer=51, texttype=0))
sram_128x32_1r1w_hierarc.add(gdstk.Label('out_0', (40.7,6.4), layer=49, texttype=0))
sram_128x32_1r1w_hierarc.add(gdstk.Label('out_1', (40.7,20), layer=49, texttype=0))
sram_128x32_1r1w_hierarc.add(gdstk.Label('out_2', (40.7,32.8), layer=49, texttype=0))
sram_128x32_1r1w_hierarc.add(gdstk.Label('out_3', (40.7,46.4), layer=49, texttype=0))
sram_128x32_1r1w_hierarc.add(gdstk.Label('out_4', (40.7,59.2), layer=49, texttype=0))
sram_128x32_1r1w_hierarc.add(gdstk.Label('out_5', (40.7,72.8), layer=49, texttype=0))
sram_128x32_1r1w_hierarc.add(gdstk.Label('out_6', (40.7,85.6), layer=49, texttype=0))
sram_128x32_1r1w_hierarc.add(gdstk.Label('out_7', (40.7,99.2), layer=49, texttype=0))
sram_128x32_1r1w_hierarc.add(gdstk.Label('vdd', (24.2,92.4), layer=62, texttype=0))
sram_128x32_1r1w_hierarc.add(gdstk.Label('vdd', (24.2,39.6), layer=62, texttype=0))
sram_128x32_1r1w_hierarc.add(gdstk.Label('vdd', (24.2,66), layer=62, texttype=0))
sram_128x32_1r1w_hierarc.add(gdstk.Label('vdd', (24.2,13.2), layer=62, texttype=0))
sram_128x32_1r1w_hierarc.add(gdstk.Label('gnd', (6.4,79.2), layer=62, texttype=0))
sram_128x32_1r1w_hierarc.add(gdstk.Label('gnd', (6.4,26.4), layer=62, texttype=0))
sram_128x32_1r1w_hierarc.add(gdstk.Label('gnd', (6.4,52.8), layer=62, texttype=0))
sram_128x32_1r1w_hierarc.add(gdstk.Label('gnd', (6.4,0), layer=62, texttype=0))
sram_128x32_1r1w_hierarc.add(gdstk.Label('gnd', (6.4,105.6), layer=62, texttype=0))

lib.write_gds('sram_128x32_1r1w_hierarchical_predecode3x8.gds')
